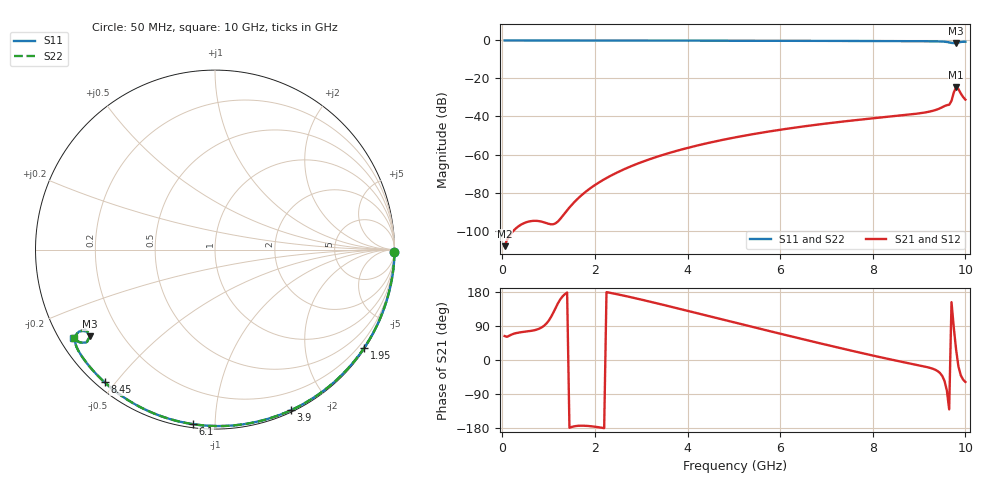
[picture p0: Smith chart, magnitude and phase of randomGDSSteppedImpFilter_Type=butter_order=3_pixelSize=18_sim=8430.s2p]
! freq	dB(S11)	phase(S11)	dB(S12)	phase(S12)
!  dB(S21)	phase(S21)	dB(S22)	phase(S22)
!S-par simulation data
#  GHz  S  DB  R 50
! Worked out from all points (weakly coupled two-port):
!   200 points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, 50 MHz to 10 GHz, reference 50 ohm
!   highest |S21| = -24.57 dB at 9.8 GHz (marker M1); lowest = -108.2 dB at 50 MHz (marker M2)
!   lowest |S11| = -1.5 dB at 9.8 GHz (marker M3), VSWR 11.97, Z = 4.58 - j15.5 ohm
!   |S11| at or under -10 dB: nowhere
!   |S22| runs from -1.5 to 0.0 dB; largest |S21 - S12| = 0
!   S11 on the Smith chart (normalised r, x): 50 MHz: open; 1.95 GHz: 0.03, -3.35; 3.9 GHz: 0.02, -1.58; 6.1 GHz: 0.02, -0.88; 8.45 GHz: 0.02, -0.47; 10 GHz: 0.04, -0.29
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0.05  -0.00 -0.9  -108.22 63.3  -108.22 63.3  -0.00 -0.9
0.9  -0.02 -15.5  -95.66 90.2  -95.66 90.2  -0.02 -15.5
1.75  -0.04 -29.9  -80.61 -173.4  -80.61 -173.4  -0.04 -29.9
1.95  -0.04 -33.2  -76.90 -175.3  -76.90 -175.3  -0.04 -33.2
2.25  -0.05 -38.2  -72.37 179.1  -72.37 179.1  -0.05 -38.2
2.6  -0.06 -44.0  -68.09 170.5  -68.09 170.5  -0.06 -44.0
3.4  -0.08 -56.8  -60.71 147.8  -60.71 147.8  -0.08 -56.8
3.9  -0.09 -64.6  -57.18 132.8  -57.18 132.8  -0.09 -64.6
5.05  -0.13 -82.0  -50.90 98.0  -50.90 98.0  -0.13 -82.0
6.1  -0.17 -97.2  -46.62 66.4  -46.62 66.4  -0.17 -97.2
6.7  -0.21 -105.7  -44.60 48.7  -44.60 48.7  -0.21 -105.7
8.35  -0.33 -128.4  -40.10 2.4  -40.10 2.4  -0.33 -128.4
8.45  -0.34 -129.8  -39.86 -0.3  -39.86 -0.3  -0.34 -129.8
9.2  -0.43 -140.6  -37.56 -19.5  -37.56 -19.5  -0.43 -140.5
9.55  -0.64 -147.2  -34.51 -55.5  -34.51 -55.5  -0.62 -147.1
9.65  -1.07 -148.9  -33.83 -130.2  -33.83 -130.2  -0.99 -148.9
9.7  -1.28 -148.3  -31.79 152.7  -31.79 152.7  -1.19 -148.8
9.75  -1.42 -147.5  -27.31 84.7  -27.31 84.7  -1.41 -148.4
9.8  -1.45 -145.2  -24.57 26.8  -24.57 26.8  -1.54 -145.7
9.85  -1.06 -144.2  -25.61 -17.3  -25.61 -17.3  -1.13 -144.2
9.95  -0.68 -146.8  -29.73 -51.7  -29.73 -51.7  -0.69 -146.7
10  -0.63 -147.9  -31.12 -57.8  -31.12 -57.8  -0.64 -147.9
